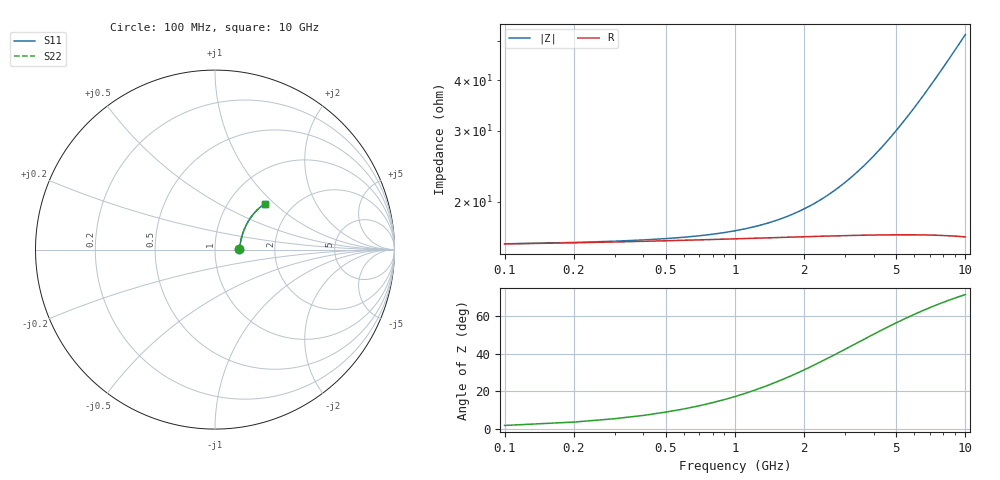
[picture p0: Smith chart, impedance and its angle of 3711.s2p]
# Hz S RI R 50.00
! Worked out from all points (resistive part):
!   100 points, 100 MHz to 10 GHz, reference 50 ohm
!   read as one part in series: R = 15.7 ohm at 100 MHz
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1e8  0.1357 0.00321  0.8643 -0.00428  0.8643 -0.00428  0.1357 0.00321
6e8  0.1387 0.0191  0.8613 -0.0255  0.8613 -0.0255  0.1387 0.0191
8e8  0.1397 0.0254  0.8603 -0.034  0.8603 -0.034  0.1397 0.0254
1e9  0.1407 0.0317  0.8592 -0.0424  0.8592 -0.0424  0.1407 0.0317
1.2e9  0.1418 0.0379  0.8581 -0.0509  0.8581 -0.0509  0.1418 0.0379
1.4e9  0.143 0.0442  0.8569 -0.0592  0.8569 -0.0592  0.143 0.0442
1.8e9  0.1456 0.0566  0.8542 -0.0759  0.8542 -0.0759  0.1456 0.0566
2.1e9  0.1477 0.0658  0.852 -0.0883  0.852 -0.0883  0.1477 0.0658
2.4e9  0.1502 0.0749  0.8495 -0.1007  0.8495 -0.1007  0.1502 0.0749
3.4e9  0.1599 0.1045  0.8394 -0.1411  0.8394 -0.1411  0.1599 0.1045
4.3e9  0.1708 0.1301  0.8281 -0.1764  0.8281 -0.1764  0.1708 0.1301
5.1e9  0.1821 0.1518  0.8162 -0.2067  0.8162 -0.2067  0.1821 0.1518
5.5e9  0.1883 0.1622  0.8098 -0.2214  0.8098 -0.2214  0.1883 0.1622
5.9e9  0.1949 0.1723  0.8029 -0.2359  0.8029 -0.2359  0.1949 0.1723
6.3e9  0.2018 0.1821  0.7957 -0.25  0.7957 -0.25  0.2018 0.1821
6.7e9  0.209 0.1915  0.7882 -0.2638  0.7882 -0.2638  0.209 0.1915
7.1e9  0.2165 0.2006  0.7804 -0.2773  0.7804 -0.2773  0.2165 0.2006
7.5e9  0.2242 0.2094  0.7722 -0.2904  0.7722 -0.2904  0.2242 0.2094
7.9e9  0.2322 0.2178  0.7638 -0.3032  0.7638 -0.3032  0.2322 0.2178
8.4e9  0.2426 0.2279  0.753 -0.3186  0.753 -0.3186  0.2426 0.2279
9.2e9  0.2598 0.2427  0.7348 -0.3422  0.7348 -0.3422  0.2598 0.2427
1e10  0.2778 0.256  0.7159 -0.3643  0.7159 -0.3643  0.2778 0.256
